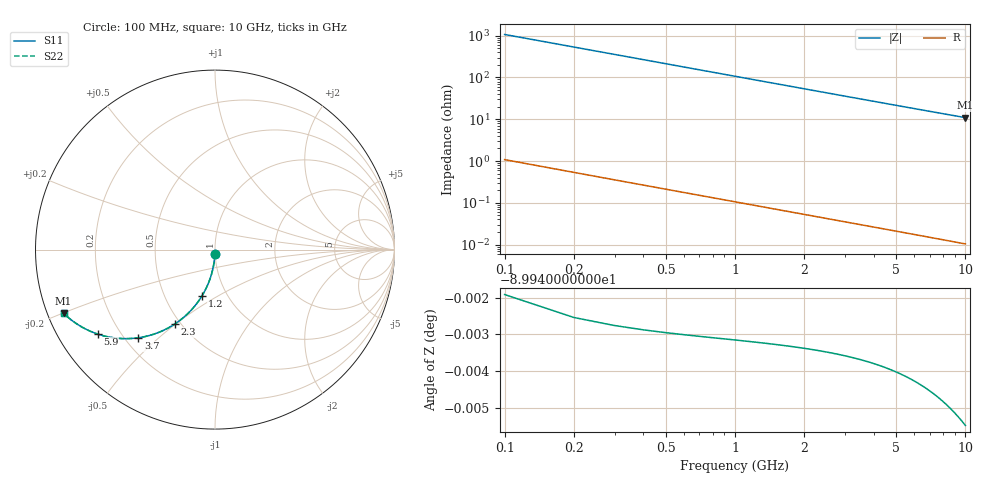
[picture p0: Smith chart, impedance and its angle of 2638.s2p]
# Hz S RI R 50.00
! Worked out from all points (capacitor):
!   100 points, 100 MHz to 10 GHz, reference 50 ohm
!   read as one part in shunt: C = 1.49 pF near 100 MHz
!   lowest |Z| = 10.9 ohm at 10 GHz (marker M1)
!   S11 on the Smith chart (normalised r, x): 100 MHz: 1.00, -0.05; 1.2 GHz: 0.76, -0.43; 2.3 GHz: 0.47, -0.50; 3.7 GHz: 0.25, -0.43; 5.9 GHz: 0.12, -0.32; 10 GHz: 0.05, -0.20
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1e8  -0.000555 -0.0233  0.9994 -0.0235  0.9994 -0.0235  -0.000555 -0.0233
2e8  -0.00222 -0.0466  0.9977 -0.0469  0.9977 -0.0469  -0.00222 -0.0466
3e8  -0.00496 -0.0697  0.995 -0.0701  0.995 -0.0701  -0.00496 -0.0697
4e8  -0.00877 -0.0925  0.9912 -0.0931  0.9912 -0.0931  -0.00877 -0.0925
5e8  -0.0136 -0.1151  0.9864 -0.1159  0.9864 -0.1159  -0.0136 -0.1151
6e8  -0.0195 -0.1372  0.9805 -0.1382  0.9805 -0.1382  -0.0195 -0.1372
7e8  -0.0263 -0.159  0.9737 -0.1601  0.9737 -0.1601  -0.0263 -0.159
9e8  -0.0427 -0.2009  0.9573 -0.2023  0.9573 -0.2023  -0.0427 -0.2009
1.2e9  -0.0733 -0.2592  0.9267 -0.2611  0.9267 -0.2611  -0.0733 -0.2592
1.5e9  -0.1099 -0.3111  0.8901 -0.3134  0.8901 -0.3134  -0.1099 -0.3111
1.8e9  -0.1507 -0.3559  0.8492 -0.3587  0.8492 -0.3587  -0.1507 -0.3559
2.3e9  -0.2244 -0.4149  0.7756 -0.4185  0.7756 -0.4185  -0.2244 -0.4149
2.8e9  -0.2998 -0.4555  0.7002 -0.4599  0.7002 -0.4599  -0.2998 -0.4555
3.4e9  -0.3866 -0.4838  0.6134 -0.4892  0.6134 -0.4892  -0.3866 -0.4838
3.7e9  -0.4272 -0.4912  0.5728 -0.4971  0.5728 -0.4971  -0.4272 -0.4912
4.4e9  -0.5129 -0.4958  0.4871 -0.5028  0.4871 -0.5028  -0.5129 -0.4958
5.1e9  -0.5855 -0.4881  0.4145 -0.4962  0.4145 -0.4962  -0.5855 -0.4881
5.9e9  -0.6537 -0.4705  0.3463 -0.48  0.3463 -0.48  -0.6537 -0.4705
6.7e9  -0.7085 -0.4485  0.2914 -0.4593  0.2914 -0.4593  -0.7085 -0.4485
7.5e9  -0.7527 -0.4248  0.2472 -0.437  0.2472 -0.437  -0.7527 -0.4248
8.4e9  -0.7923 -0.3983  0.2075 -0.4119  0.2075 -0.4119  -0.7923 -0.3983
1e10  -0.8439 -0.3542  0.1559 -0.3706  0.1559 -0.3706  -0.8439 -0.3542
